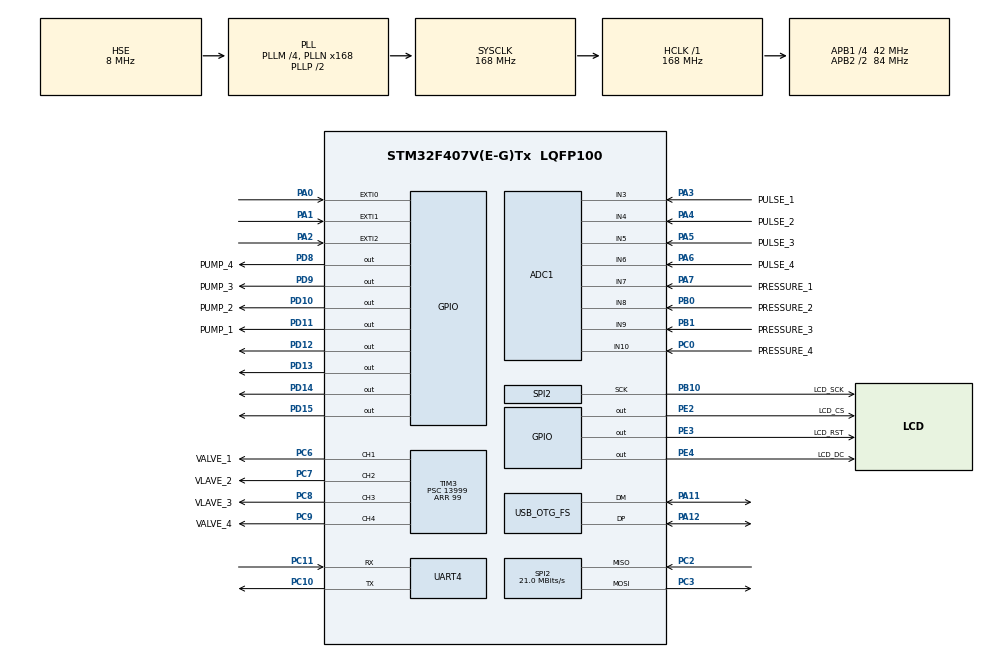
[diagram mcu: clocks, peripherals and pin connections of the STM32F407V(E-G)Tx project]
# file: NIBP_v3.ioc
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ADC1.Channel-1\#ChannelRegularConversion=ADC_CHANNEL_3
ADC1.Channel-2\#ChannelRegularConversion=ADC_CHANNEL_4
ADC1.Channel-3\#ChannelRegularConversion=ADC_CHANNEL_5
ADC1.Channel-4\#ChannelRegularConversion=ADC_CHANNEL_6
ADC1.Channel-5\#ChannelRegularConversion=ADC_CHANNEL_7
ADC1.Channel-6\#ChannelRegularConversion=ADC_CHANNEL_8
ADC1.Channel-7\#ChannelRegularConversion=ADC_CHANNEL_9
ADC1.Channel-8\#ChannelRegularConversion=ADC_CHANNEL_10
ADC1.ContinuousConvMode=DISABLE
ADC1.DMAContinuousRequests=ENABLE
ADC1.EOCSelection=ADC_EOC_SEQ_CONV
ADC1.ExternalTrigConv=ADC_EXTERNALTRIGCONV_T2_TRGO
ADC1.NbrOfConversion=8
ADC1.NbrOfConversionFlag=1
ADC1.Rank-1\#ChannelRegularConversion=1
ADC1.Rank-2\#ChannelRegularConversion=2
ADC1.Rank-3\#ChannelRegularConversion=3
ADC1.Rank-4\#ChannelRegularConversion=4
ADC1.Rank-5\#ChannelRegularConversion=5
ADC1.Rank-6\#ChannelRegularConversion=6
ADC1.Rank-7\#ChannelRegularConversion=7
ADC1.Rank-8\#ChannelRegularConversion=8
ADC1.SamplingTime-1\#ChannelRegularConversion=ADC_SAMPLETIME_84CYCLES
ADC1.SamplingTime-2\#ChannelRegularConversion=ADC_SAMPLETIME_84CYCLES
ADC1.SamplingTime-3\#ChannelRegularConversion=ADC_SAMPLETIME_84CYCLES
ADC1.SamplingTime-4\#ChannelRegularConversion=ADC_SAMPLETIME_84CYCLES
ADC1.SamplingTime-5\#ChannelRegularConversion=ADC_SAMPLETIME_84CYCLES
ADC1.SamplingTime-6\#ChannelRegularConversion=ADC_SAMPLETIME_84CYCLES
ADC1.SamplingTime-7\#ChannelRegularConversion=ADC_SAMPLETIME_84CYCLES
ADC1.SamplingTime-8\#ChannelRegularConversion=ADC_SAMPLETIME_144CYCLES
ADC1.ScanConvMode=ENABLE
ADC1.master=1
ARM.CMSIS.5.6.0.CMSISJjCORE=true
ARM.CMSIS.5.6.0.CMSISJjDSP=Library
Dma.ADC1.0.Direction=DMA_PERIPH_TO_MEMORY
Dma.ADC1.0.FIFOMode=DMA_FIFOMODE_DISABLE
Dma.ADC1.0.Instance=DMA2_Stream0
Dma.ADC1.0.MemDataAlignment=DMA_MDATAALIGN_HALFWORD
Dma.ADC1.0.MemInc=DMA_MINC_ENABLE
Dma.ADC1.0.Mode=DMA_CIRCULAR
Dma.ADC1.0.PeriphDataAlignment=DMA_PDATAALIGN_HALFWORD
Dma.ADC1.0.PeriphInc=DMA_PINC_DISABLE
Dma.ADC1.0.Priority=DMA_PRIORITY_LOW
Dma.Request0=ADC1
Mcu.Family=STM32F4
Mcu.Name=STM32F407V(E-G)Tx
Mcu.Package=LQFP100
NVIC.ADC_IRQn=true\:0\:0\:false\:false\:true\:true\:true
NVIC.DMA2_Stream0_IRQn=true\:0\:0\:false\:false\:true\:false\:true
NVIC.EXTI0_IRQn=true\:0\:0\:false\:false\:true\:true\:true
NVIC.EXTI1_IRQn=true\:0\:0\:false\:false\:true\:true\:true
NVIC.EXTI2_IRQn=true\:0\:0\:false\:false\:true\:true\:true
NVIC.OTG_FS_IRQn=true\:0\:0\:false\:false\:true\:false\:true
NVIC.PriorityGroup=NVIC_PRIORITYGROUP_0
NVIC.TIM2_IRQn=true\:0\:0\:false\:false\:true\:true\:true
NVIC.TIM4_IRQn=true\:0\:0\:false\:false\:true\:true\:true
NVIC.TIM5_IRQn=true\:0\:0\:false\:false\:true\:true\:true
NVIC.UART4_IRQn=true\:0\:0\:false\:false\:true\:true\:true
PA0-WKUP.Signal=GPXTI0
PA1.Signal=GPXTI1
PA11.Mode=Device_Only
PA11.Signal=USB_OTG_FS_DM
PA12.Mode=Device_Only
PA12.Signal=USB_OTG_FS_DP
PA13.Mode=Serial_Wire
PA13.Signal=SYS_JTMS-SWDIO
PA14.Mode=Serial_Wire
PA14.Signal=SYS_JTCK-SWCLK
PA2.Signal=GPXTI2
PA3.GPIO_Label=PULSE_1
PA3.Signal=ADCx_IN3
PA4.GPIO_Label=PULSE_2
PA4.Signal=ADCx_IN4
PA5.GPIO_Label=PULSE_3
PA5.Signal=ADCx_IN5
PA6.GPIO_Label=PULSE_4
PA6.Signal=ADCx_IN6
PA7.GPIO_Label=PRESSURE_1
PA7.Signal=ADCx_IN7
PB0.GPIO_Label=PRESSURE_2
PB0.Signal=ADCx_IN8
PB1.GPIO_Label=PRESSURE_3
PB1.Signal=ADCx_IN9
PB10.GPIO_Label=LCD_SCK
PB10.Mode=Full_Duplex_Master
PB10.Signal=SPI2_SCK
PC0.GPIO_Label=PRESSURE_4
PC0.Signal=ADCx_IN10
PC10.Mode=Asynchronous
PC10.Signal=UART4_TX
PC11.Mode=Asynchronous
PC11.Signal=UART4_RX
PC2.Mode=Full_Duplex_Master
PC2.Signal=SPI2_MISO
PC3.Mode=Full_Duplex_Master
PC3.Signal=SPI2_MOSI
PC6.GPIO_Label=VALVE_1
PC6.Signal=S_TIM3_CH1
PC7.GPIO_Label=VLAVE_2
PC7.Signal=S_TIM3_CH2
PC8.GPIO_Label=VLAVE_3
PC8.Signal=S_TIM3_CH3
PC9.GPIO_Label=VALVE_4
PC9.Signal=S_TIM3_CH4
PD10.GPIO_Label=PUMP_2
PD10.Signal=GPIO_Output
PD11.GPIO_Label=PUMP_1
PD11.Signal=GPIO_Output
PD12.Signal=GPIO_Output
PD13.Signal=GPIO_Output
PD14.Signal=GPIO_Output
PD15.Signal=GPIO_Output
PD8.GPIO_Label=PUMP_4
PD8.Signal=GPIO_Output
PD9.GPIO_Label=PUMP_3
PD9.Signal=GPIO_Output
PE2.GPIO_Label=LCD_CS
PE2.Signal=GPIO_Output
PE3.GPIO_Label=LCD_RST
PE3.Signal=GPIO_Output
PE4.GPIO_Label=LCD_DC
PE4.Signal=GPIO_Output
PH0-OSC_IN.Mode=HSE-External-Oscillator
PH0-OSC_IN.Signal=RCC_OSC_IN
PH1-OSC_OUT.Mode=HSE-External-Oscillator
PH1-OSC_OUT.Signal=RCC_OSC_OUT
ProjectManager.HeapSize=0x200
ProjectManager.StackSize=0x400
ProjectManager.TargetToolchain=STM32CubeIDE
RCC.48MHZClocksFreq_Value=48000000
RCC.AHBFreq_Value=168000000
RCC.APB1CLKDivider=RCC_HCLK_DIV4
RCC.APB1Freq_Value=42000000
RCC.APB1TimFreq_Value=84000000
RCC.APB2CLKDivider=RCC_HCLK_DIV2
RCC.APB2Freq_Value=84000000
RCC.APB2TimFreq_Value=168000000
RCC.CortexFreq_Value=168000000
RCC.HCLKFreq_Value=168000000
RCC.HSE_VALUE=8000000
RCC.HSI_VALUE=16000000
RCC.LSE_VALUE=32768
RCC.PLLM=4
RCC.PLLN=168
RCC.PLLQ=7
RCC.SYSCLKFreq_VALUE=168000000
RCC.SYSCLKSource=RCC_SYSCLKSOURCE_PLLCLK
RCC.VCOOutputFreq_Value=336000000
SH.ADCx_IN10.0=ADC1_IN10,IN10
SH.ADCx_IN3.0=ADC1_IN3,IN3
SH.ADCx_IN4.0=ADC1_IN4,IN4
SH.ADCx_IN5.0=ADC1_IN5,IN5
SH.ADCx_IN6.0=ADC1_IN6,IN6
SH.ADCx_IN7.0=ADC1_IN7,IN7
SH.ADCx_IN8.0=ADC1_IN8,IN8
SH.ADCx_IN9.0=ADC1_IN9,IN9
SH.S_TIM3_CH1.0=TIM3_CH1,PWM Generation1 CH1
SH.S_TIM3_CH2.0=TIM3_CH2,PWM Generation2 CH2
SH.S_TIM3_CH3.0=TIM3_CH3,PWM Generation3 CH3
SH.S_TIM3_CH4.0=TIM3_CH4,PWM Generation4 CH4
SPI2.BaudRatePrescaler=SPI_BAUDRATEPRESCALER_2
SPI2.CalculateBaudRate=21.0 MBits/s
SPI2.Direction=SPI_DIRECTION_2LINES
SPI2.Mode=SPI_MODE_MASTER
SPI2.VirtualType=VM_MASTER
TIM2.Period=199
TIM2.Prescaler=8399
TIM2.TIM_MasterOutputTrigger=TIM_TRGO_UPDATE
TIM3.Channel-PWM\ Generation1\ CH1=TIM_CHANNEL_1
TIM3.Channel-PWM\ Generation2\ CH2=TIM_CHANNEL_2
TIM3.Channel-PWM\ Generation3\ CH3=TIM_CHANNEL_3
TIM3.Channel-PWM\ Generation4\ CH4=TIM_CHANNEL_4
TIM3.Period=99
TIM3.Prescaler=13999
TIM4.Period=59
TIM4.Prescaler=8399
TIM4.TIM_MasterOutputTrigger=TIM_TRGO_UPDATE
TIM5.Period=1000-1
TIM5.Prescaler=8399
TIM5.TIM_MasterOutputTrigger=TIM_TRGO_UPDATE
UART4.VirtualMode=Asynchronous
USB_DEVICE.CLASS_NAME_FS=CDC
USB_DEVICE.VirtualMode-CDC_FS=Cdc
USB_DEVICE.VirtualModeFS=Cdc_FS
USB_OTG_FS.VirtualMode=Device_Only
VP_ARM.CMSIS_VS_CMSISJjCORE_5.3.0.Mode=CMSISJjCORE
VP_ARM.CMSIS_VS_CMSISJjDSP_1.7.0.Mode=CMSISJjDSP
VP_TIM2_VS_ClockSourceINT.Mode=Internal
VP_TIM3_VS_ClockSourceINT.Mode=Internal
VP_TIM4_VS_ClockSourceINT.Mode=Internal
VP_TIM5_VS_ClockSourceINT.Mode=Internal
VP_USB_DEVICE_VS_USB_DEVICE_CDC_FS.Mode=CDC_FS
board=custom

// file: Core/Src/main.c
/* USER CODE BEGIN Header */
/**
  ******************************************************************************
  * @file           : main.c
  * @brief          : Main program body
  ******************************************************************************
  * @attention
  *
  * <h2><center>&copy; Copyright (c) 2020 STMicroelectronics.
  * All rights reserved.</center></h2>
  *
  * This software component is licensed by ST under BSD 3-Clause license,
  * the "License"; You may not use this file except in compliance with the
  * License. You may obtain a copy of the License at:
  *                        opensource.org/licenses/BSD-3-Clause
  *
  ******************************************************************************
  */
/* USER CODE END Header */

#include "main.h"
#include "adc.h"
#include "dma.h"
#include "spi.h"
#include "tim.h"
#include "usart.h"
#include "usb_device.h"
#include "gpio.h"

/* USER CODE BEGIN Includes */
#include "motor_control.h"
#include "lp_15hz.h"
#include "lp_envelop.h"
#include "usbd_cdc_if.h"
#include "find_abi.h"
#include "User_Structs.h"
#include "ILI9341_GFX.h"
#include "ILI9341_STM32_Driver.h"
#include "Display.h"
#include <string.h>
#include <stdlib.h>

/* USER CODE END Includes */

/* USER CODE BEGIN PD */
#define MAX_LENGTH 2500
#define BLOCK_SIZE 16
#define COEFF_SIZE 32
#define LIMP_NUMBER 4
/* USER CODE END PD */

/* USER CODE BEGIN PV */
uint16_t bt_flag;
uint16_t bt_flag2;

volatile uint16_t adc[8];
uint16_t (*adc_ptr)[8];
uint16_t _adc = 0;
char temp[12];
char result[12];
char toESP[21];
uint16_t _limp = 0;
int map_pos;
float32_t adc_filterred;
float32_t fir_state[COEFF_SIZE + BLOCK_SIZE -1];
float32_t *pPulsepre;
float32_t *pPulsefil;
//float32_t *pS;
/*
 * variable for dc removal
 */
//static float32_t w, w_d1;
static float32_t pulse_noDC[4];

/*
 * variable for ABI calculation
 */
NIBP_Struct NIBP;
FIR_filter_Struct pulse_filter;
envelop_filter_Struct envelop_filter;
float32_t limp_bp[4];
float32_t abi;
/*
 * State machine
 */
typedef enum
{
	READY,
	PUMPING,
	DEFLATING,
	CALCULATING,
	DISPLAY_DATA,
	HOLD
} STATE;
STATE state;

/* USER CODE END PV */

void SystemClock_Config(void);

int main(void)
{

  /* MCU Configuration--------------------------------------------------------*/

  /* Reset of all peripherals, Initializes the Flash interface and the Systick. */
  HAL_Init();

  /* USER CODE BEGIN Init */
  /* FPU settings ------------------------------------------------------------*/
    #if (__FPU_PRESENT == 1) && (__FPU_USED == 1)
      SCB->CPACR |= ((3UL << 10*2)|(3UL << 11*2));  /* set CP10 and CP11 Full Access */
    #endif
  /* USER CODE END Init */

  /* Configure the system clock */
  SystemClock_Config();

  /* Initialize all configured peripherals */
  MX_GPIO_Init();
  MX_DMA_Init();
  MX_ADC1_Init();
  MX_TIM2_Init();
  MX_TIM4_Init();
  MX_USB_DEVICE_Init();
  MX_SPI2_Init();
  MX_TIM3_Init();
  MX_UART4_Init();
  MX_TIM5_Init();
  /* USER CODE BEGIN 2 */
  ILI9341_Init();
  LCD_Layout();
//  HAL_TIM_Base_Start_IT(&htim2); //50 sample/s
  HAL_TIM_Base_Start_IT(&htim5); // 0.1s
  HAL_ADC_Start_DMA(&hadc1, (uint32_t*)adc, 8);

  HAL_TIM_PWM_Start(&htim3, TIM_CHANNEL_1);
  HAL_TIM_PWM_Start(&htim3, TIM_CHANNEL_2);
  HAL_TIM_PWM_Start(&htim3, TIM_CHANNEL_3);
  HAL_TIM_PWM_Start(&htim3, TIM_CHANNEL_4);

//  LCD_Layout();

  pulse_filter.blockSize = BLOCK_SIZE;
  pulse_filter.num_taps = COEFF_SIZE;
  pulse_filter.coeff = &fir_coeff[0];
  pulse_filter.state = &fir_state[0];
  pulse_filter.num_block = MAX_LENGTH/BLOCK_SIZE;

  envelop_filter.blockSize = 128;
  envelop_filter.num_taps = 128;
  envelop_filter.coeff = &Envelop[0];
//
  arm_fir_init_f32(&pulse_filter.S, pulse_filter.num_taps, pulse_filter.coeff, &pulse_filter.state[0], pulse_filter.blockSize);
  arm_fir_init_f32(&envelop_filter.S, envelop_filter.num_taps, envelop_filter.coeff, &envelop_filter.state[0], envelop_filter.blockSize);
//  uint16_t measure_count = 0;
//  start(adc, limp_bp, &pulse_filter, &envelop_filter, &NIBP);
  state = READY;
  NIBP_Struct* pNIBP = &NIBP;
  pPulsepre = (float32_t*)&NIBP.Limp[_limp].pulse_prefilterred[0];
  pPulsefil = (float32_t*)&NIBP.pulse_filterred[0];
//  uint16_t aaa;
//  uint16_t* www;
//  www = &adc[4];
//  HAL_UART_Transmit(&huart4, "start\n\r", 6, 1);

  /* USER CODE END 2 */

  /* Infinite loop */
  while (1)
  {

    /* USER CODE BEGIN 3 */
/*********************************************************************************************
		 * STATE MACHINE
********************************************************************************************/

	  switch (state)
	  {
		case READY:
			HAL_TIM_Base_Start_IT(&htim2); //50 sample/s
			ILI9341_Draw_Text("   READY  ", 30, 200, BLUE, 2, BLACK);
			recording = 0;
		//	for(uint8_t i; i <4; i++)
		//	{
		//		GPIOD->BSRR = GPIO_PIN_8 << i;
		//	}
			GPIOD->BSRR = GPIO_PIN_8 << 16U;
			GPIOD->BSRR = GPIO_PIN_9 << 16U;
			GPIOD->BSRR = GPIO_PIN_10 << 16U;
			GPIOD->BSRR = GPIO_PIN_11 << 16U;
			htim3.Instance->CCR1 = 0;
			htim3.Instance->CCR2 = 0;
			htim3.Instance->CCR3 = 0;
			htim3.Instance->CCR4 = 0;
			break;
		case PUMPING:
			recording = 0;
			ILI9341_Draw_Text("  PUMPING  ", 30, 200, BLUE, 2, BLACK);
		//	for(uint8_t i; i <4; i++)
		//	{
		//		GPIOD->BSRR = GPIO_PIN_8 << i;
		//	}
			GPIOD->BSRR = GPIO_PIN_8;
//						GPIOD->BSRR = GPIO_PIN_9;
//						GPIOD->BSRR = GPIO_PIN_10;
//						GPIOD->BSRR = GPIO_PIN_11;
			htim3.Instance->CCR1 = 100;
			htim3.Instance->CCR2 = 100;
			htim3.Instance->CCR3 = 100;
			htim3.Instance->CCR4 = 100;
			for(uint8_t i = 0; i <LIMP_NUMBER; i++)
			{
				if (adc[i + 4] >3200 )
				{
//					GPIOD->BSRR = (uint32_t)GPIO_PIN_11 << 16;
//						GPIOD->BSRR = GPIO_PIN_15;
//						GPIOD->BSRR = GPIO_PIN_14 << 16U;
					HAL_GPIO_WritePin(GPIOD, GPIO_PIN_11 >> i, 0);
				}
				else if(adc[i + 4] < 3000)
				{
//						GPIOD->BSRR = GPIO_PIN_11;
//						GPIOD->BSRR = GPIO_PIN_14;
					HAL_GPIO_WritePin(GPIOD, GPIO_PIN_11 >> i, 1);
				}
//				if(adc[4] > 2900)	HAL_GPIO_WritePin(GPIOD, GPIO_PIN_11, 0);
			}
			if((GPIOD->ODR & (GPIO_PIN_10 | GPIO_PIN_11 | GPIO_PIN_9 | GPIO_PIN_8 )) == 0)
			{
				state = DEFLATING;
				ILI9341_Draw_Text("  DEFLATING  ", 30, 200, BLUE, 2, BLACK);
			}
			break;
		case DEFLATING:

			recording = 1;
			GPIOD->BSRR = GPIO_PIN_8 << 16U;
			GPIOD->BSRR = GPIO_PIN_9 << 16U;
			GPIOD->BSRR = GPIO_PIN_10 << 16U;
			GPIOD->BSRR = GPIO_PIN_11 << 16U;
			htim3.Instance->CCR1 = 90;
			htim3.Instance->CCR2 = 90;
			htim3.Instance->CCR3 = 90;
			htim3.Instance->CCR4 = 90;
//
			if(adc[4] < 1700)
			{
				htim3.Instance->CCR1 = 0;
				htim3.Instance->CCR2 = 0;
				htim3.Instance->CCR3 = 0;
				htim3.Instance->CCR4 = 0;
				ILI9341_Draw_Text("CALCULATING", 30, 200, BLUE, 2, BLACK);
				state = CALCULATING;

			}
			break;
		case CALCULATING:

			/*
			 * wait for main loop done task
			 */
			HAL_TIM_Base_Stop_IT(&htim2); //50 sample/s
			htim3.Instance->CCR1 = 0;
			htim3.Instance->CCR2 = 0;
			htim3.Instance->CCR3 = 0;
			htim3.Instance->CCR4 = 0;

		  for(uint8_t _limp = 0; _limp <LIMP_NUMBER; _limp++)
		  {
				for (int i = 0; i < pulse_filter.num_block; i++)
				{
					arm_fir_f32(&pulse_filter.S, (float32_t*)(&NIBP.Limp[_limp].pulse_prefilterred[0]) + (i*BLOCK_SIZE) , &NIBP.pulse_filterred[0] + (i*BLOCK_SIZE), pulse_filter.blockSize);
					HAL_GPIO_TogglePin(GPIOD, GPIO_PIN_15);
//		  	  		GPIOD->BSRR = GPIO_PIN_15;
				}
//			  for (int i = 0; i < 2500; i++) {
////				  dtostrf
//		  		sprintf(temp, "%f\n", NIBP.pulse_filterred[i]);
//		  		HAL_UART_Transmit(&huart4, (uint8_t*)&temp[0], sizeof(temp), 10);
////		  		HAL_UART_Transmit(huart, pData, Size, Timeout)
//		  		HAL_Delay(1);
//				  adc_filterred = NIBP.pulse_filterred[i];
//
//			  }

			  find_peak(pNIBP, _limp); //
			  map_pos = find_MAP((float32_t*)(&NIBP.pulse_filterred), &NIBP.Limp[_limp].pressure[0], pNIBP, _limp);//
			  find_envelop(pNIBP);

//			  HAL_UART_Transmit(&huart4, "peak\n", 6, 10);
//			  for (int i = 0; i < 2500; i++) {
//	//				  dtostrf
//				sprintf(temp, "%f\n", NIBP.peak[i]);
//				HAL_UART_Transmit(&huart4, (uint8_t*)&temp[0], sizeof(temp), 10);
//	//		  		HAL_UART_Transmit(huart, pData, Size, Timeout)
//				HAL_Delay(1);
//				  adc_filterred = NIBP.pulse_filterred[i];
//
//			  }
			  limp_bp[_limp] = find_SYS(pNIBP, _limp);
			  sprintf(&result[0], "%6d", (int)limp_bp[_limp]);
//		  	  MAP_pos = 0;
			  for(int i = 0; i < MAX_LENGTH; i++)
			  {
				  NIBP.pulse_filterred[i] = 0;
				  NIBP.S_peak[i] = 0;
				  NIBP.peak[i] = 0;
				  NIBP.peak_envelop[i] = 0;
				  NIBP.peak_step[i] = 0;
			  }

//				sprintf(&result[0], "%6d", (int)map_pos);
//				ILI9341_Draw_Text(&result[0], 350, 220 + _limp*20, RED, 1, BLACK);

		  }
		  state = DISPLAY_DATA;
		  abi = find_abi(&limp_bp[0]);
		  sprintf(&toESP[0], "%.0f %.0f %.0f %.0f %.2f", (double)limp_bp[0], (double)limp_bp[1], (double)limp_bp[2], (double)limp_bp[3], (double)abi);
		  HAL_UART_Transmit(&huart4, &toESP[0], 20, 10);
		  HAL_TIM_Base_Start_IT(&htim2); //50 sample/s
//		  ILI9341_Fill_Screen(BLACK);
			//state = READY;
			break;
		case DISPLAY_DATA:
			for(uint8_t _limp = 0; _limp <LIMP_NUMBER; _limp++)
			{
				sprintf(&result[0], "%6d", (int)limp_bp[_limp]);

				HAL_Delay(200);

			}
			sprintf(&result[0], "%6d", (int)limp_bp[0]);
			ILI9341_Draw_Text("Limp0", 0, 220, YELLOW, 1, BLACK);
			ILI9341_Draw_Text(&result[0], 20, 220, YELLOW, 1, BLACK);

			sprintf(&result[0], "%6d", (int)limp_bp[1]);
			ILI9341_Draw_Text("Limp1", 80, 220, ORANGE, 1, BLACK);
			ILI9341_Draw_Text(&result[0], 100, 220, ORANGE, 1, BLACK);

			sprintf(&result[0], "%6d", (int)limp_bp[2]);
			ILI9341_Draw_Text("Limp2", 0, 240, PINK, 1, BLACK);
			ILI9341_Draw_Text(&result[0], 20, 240, PINK, 1, BLACK);

			sprintf(&result[0], "%6d", (int)limp_bp[3]);
			ILI9341_Draw_Text("Limp3", 80, 240, GREEN, 1, BLACK);
			ILI9341_Draw_Text(&result[0], 100, 240, GREEN, 1, BLACK);
			HAL_Delay(200);
			break;
		case HOLD:
			GPIOD->BSRR = GPIO_PIN_8 << 16U;
			GPIOD->BSRR = GPIO_PIN_9 << 16U;
			GPIOD->BSRR = GPIO_PIN_10 << 16U;
			GPIOD->BSRR = GPIO_PIN_11 << 16U;
			htim3.Instance->CCR1 = 100;
			htim3.Instance->CCR2 = 100;
			htim3.Instance->CCR3 = 100;
			htim3.Instance->CCR4 = 100;
			break;
	  }
/*********************************************************************************************
	  		 END STATE MACHINE
********************************************************************************************/

  }
  /* USER CODE END 3 */
}

void SystemClock_Config(void)
{
  RCC_OscInitTypeDef RCC_OscInitStruct = {0};
  RCC_ClkInitTypeDef RCC_ClkInitStruct = {0};

  /** Configure the main internal regulator output voltage
  */
  __HAL_RCC_PWR_CLK_ENABLE();
  __HAL_PWR_VOLTAGESCALING_CONFIG(PWR_REGULATOR_VOLTAGE_SCALE1);
  /** Initializes the CPU, AHB and APB busses clocks
  */
  RCC_OscInitStruct.OscillatorType = RCC_OSCILLATORTYPE_HSE;
  RCC_OscInitStruct.HSEState = RCC_HSE_ON;
  RCC_OscInitStruct.PLL.PLLState = RCC_PLL_ON;
  RCC_OscInitStruct.PLL.PLLSource = RCC_PLLSOURCE_HSE;
  RCC_OscInitStruct.PLL.PLLM = 4;
  RCC_OscInitStruct.PLL.PLLN = 168;
  RCC_OscInitStruct.PLL.PLLP = RCC_PLLP_DIV2;
  RCC_OscInitStruct.PLL.PLLQ = 7;
  if (HAL_RCC_OscConfig(&RCC_OscInitStruct) != HAL_OK)
  {
    Error_Handler();
  }
  /** Initializes the CPU, AHB and APB busses clocks
  */
  RCC_ClkInitStruct.ClockType = RCC_CLOCKTYPE_HCLK|RCC_CLOCKTYPE_SYSCLK
                              |RCC_CLOCKTYPE_PCLK1|RCC_CLOCKTYPE_PCLK2;
  RCC_ClkInitStruct.SYSCLKSource = RCC_SYSCLKSOURCE_PLLCLK;
  RCC_ClkInitStruct.AHBCLKDivider = RCC_SYSCLK_DIV1;
  RCC_ClkInitStruct.APB1CLKDivider = RCC_HCLK_DIV4;
  RCC_ClkInitStruct.APB2CLKDivider = RCC_HCLK_DIV2;

  if (HAL_RCC_ClockConfig(&RCC_ClkInitStruct, FLASH_LATENCY_5) != HAL_OK)
  {
    Error_Handler();
  }
}

/* USER CODE BEGIN 4 */

void HAL_ADC_ConvCpltCallback(ADC_HandleTypeDef* hadc)
{
	if(hadc->Instance == hadc1.Instance)
	{

		//w = adc[1] + 0.95*w_d1;
//		LCD_Update_adc(adc);

//		for (uint8_t i = 0; i <1; i++)
//		{
//			pulse_noDC[i] = adc[i] - 1000; //- w;
			if (state == DEFLATING && _adc < MAX_LENGTH)
			{
//				NIBP.Limp[i].pulse_prefilterred[_adc] = adc[i];
//				NIBP.Limp[i].pressure[_adc] = adc[i+4];
				NIBP.Limp[0].pulse_prefilterred[_adc] = (float32_t)(adc[0] - 1600);
				NIBP.Limp[0].pressure[_adc] = adc[4];
				NIBP.Limp[1].pulse_prefilterred[_adc] = (float32_t)(adc[1] - 1600);
				NIBP.Limp[1].pressure[_adc] = adc[5];
				NIBP.Limp[2].pulse_prefilterred[_adc] = (float32_t)(adc[2] - 1600);
				NIBP.Limp[2].pressure[_adc] = adc[6];
				NIBP.Limp[3].pulse_prefilterred[_adc] = (float32_t)(adc[3] - 1600);
				NIBP.Limp[3].pressure[_adc] = adc[7];
				_adc++;
			}
			if(_adc == MAX_LENGTH - 2)
			{
				state = CALCULATING;
			}
//		}

//		_adc++;
	}

}

/*
 * button interrupt
 */
void HAL_GPIO_EXTI_Callback(uint16_t GPIO_Pin)
{
	if (GPIO_Pin == GPIO_PIN_0)
	{
		HAL_TIM_Base_Start(&htim4); /*timer for button debounce*/
		bt_flag = 1;
		_adc = 0;
		if (state == READY) state = PUMPING;
		if (state == DISPLAY_DATA) state = READY;
	}
//	if (GPIO_Pin == GPIO_PIN_1)
//	{
//		HAL_TIM_Base_Start(&htim4); /*timer for button debounce*/
//		bt_flag = 1;
//		_adc = 0;
//		if (state == READY) state = PUMPING;
//		else if (state == PUMPING) state = HOLD;
//		else if ( state == HOLD) state = PUMPING;
//	}
}
/*
 * Button debounce
 */
void HAL_TIM_PeriodElapsedCallback(TIM_HandleTypeDef *htim)
{
	if (htim->Instance == htim4.Instance)
	{
		if (HAL_GPIO_ReadPin(GPIOA, GPIO_PIN_0) == 0)
		{
			HAL_TIM_Base_Stop(&htim4);
			bt_flag = 0;
		}
	}
	if (htim->Instance == htim5.Instance)
	{

		/*********************************************************
		 * LCD DISPLAY
		 ********************************************************/
		for(int i = 0; i < 4; i++)
		{
			sprintf(&temp[0], "%6d", adc[i]);
		//	ILI9341_Draw_Text("Test", 0, 240, RED, 1, BLACK);
			ILI9341_Draw_Text(&temp[0], 150, 40 + i*40, RED, 1, BLACK);
		}
		for(int i = 0; i < 4; i++)
		{
			sprintf(&temp[0], "%6d", adc[i + 4]);
		//	ILI9341_Draw_Text("Test", 0, 240, RED, 1, BLACK);
			ILI9341_Draw_Text(&temp[0], 150, 20 + i*40, RED, 1, BLACK);
		}
	}
}
/* USER CODE END 4 */

void Error_Handler(void)
{
}

/************************ (C) COPYRIGHT STMicroelectronics *****END OF FILE****/
